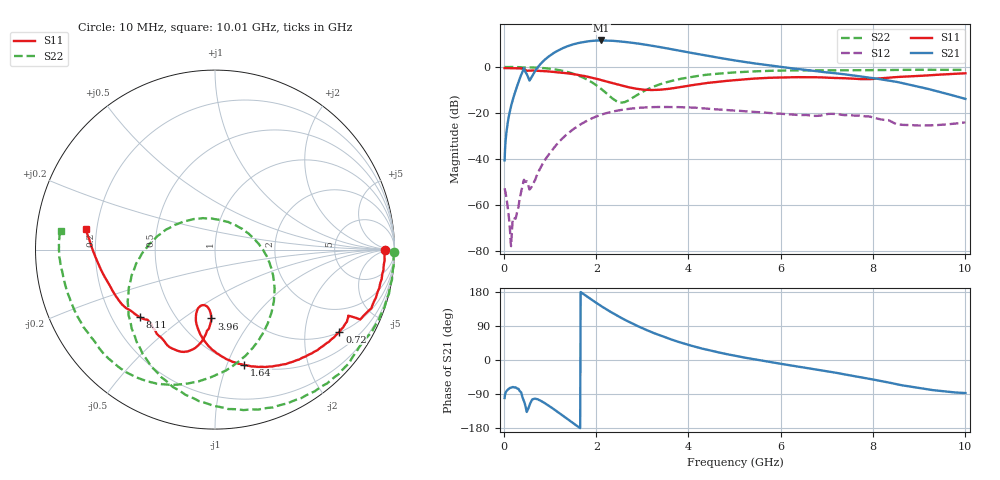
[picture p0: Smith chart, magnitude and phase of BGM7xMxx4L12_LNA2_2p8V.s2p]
! (c) 2014 Infineon Technologies AG
! BGM7xMxx4L12 - Silicon Germanium Quad-Band LTE LNA bank
! 20 May 2014
! Special Application Board
! C1 = L1 = 0 Ohm
! C2 = 100 nF
! Vcc = 2.8V
! RF input and output lines de-embedded
! Port 1 reference plane: LNA input AI (pin 9)
! Port 2 reference plane: LNA output AO (pin 6)
! Network Data:
! Measured BGM7xMxx4L12 device level s-parameters
# GHz S MA R 50
!Freq  MagS11  AngS11  MagS21  AngS21  MagS12  AngS12  MagS22  AngS22
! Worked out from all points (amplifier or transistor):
!   1001 points, 10 MHz to 10.01 GHz, reference 50 ohm
!   highest |S21| = 11.6 dB at 2.11 GHz (marker M1)
!   |S21| within 3 dB of that: 1.316 GHz to 3.409 GHz (2.094 GHz wide, 88.6 % of centre)
!   unconditionally stable (mu >= 1): start of sweep to 69.07 MHz; 71.15 MHz to 126.5 MHz; 190.9 MHz to end of sweep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
!   at 1.67 GHz: K = 1.41, MAG = 14.0 dB, |S12| = -24.9 dB
!   at 5.01 GHz: K = 1.29, MAG = 7.7 dB, |S12| = -19.0 dB
!   at 10.01 GHz: K = 4.21, MAG = -4.1 dB, |S12| = -24.2 dB
!   lowest NFmin = 0.66 dB at 2.05 GHz
!   S11 on the Smith chart (normalised r, x): 10 MHz: 37, -3; 720 MHz: 1.03, -3.02; 1.64 GHz: 0.50, -1.15; 3.96 GHz: 0.72, -0.65; 8.11 GHz: 0.32, -0.35; 10.01 GHz: 0.16, +0.08
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0.01  0.9478 -0.3  0.009186 -100.4  0.002273 -0.1  0.9983 -0.7
0.17  0.942 -8.9  0.167 -72.2  0.0002914 -155.8  0.9975 -12.7
0.42  0.902 -24.8  0.8874 -105.5  0.0032 -177.0  0.9732 -31.5
0.54  0.8311 -26.5  0.534 -122.8  0.002303 151.1  0.9766 -39.6
0.72  0.8305 -33.4  0.9548 -103.5  0.004563 -167.3  0.9652 -54.1
0.98  0.7977 -44.9  1.73 -121.7  0.01282 -171.0  0.9193 -75.7
1.19  0.7629 -54.4  2.34 -139.4  0.02328 177.9  0.8544 -94.1
1.4  0.7218 -64.5  2.89 -158.0  0.0367 165.4  0.7647 -113.8
1.64  0.6619 -76.0  3.371 -179.0  0.05464 150.2  0.6322 -137.5
1.68  0.6517 -77.8  3.437 177.6  0.05785 147.7  0.6089 -141.8
1.89  0.5886 -87.3  3.683 159.8  0.07477 134.0  0.4713 -165.0
2.11  0.5182 -96.1  3.787 142.0  0.09135 120.1  0.3303 166.9
2.37  0.439 -103.0  3.704 122.8  0.1073 104.7  0.1989 120.7
2.63  0.3751 -106.3  3.509 105.4  0.1196 90.9  0.1737 54.4
3  0.3225 -104.2  3.135 83.9  0.1304 74.1  0.2868 -6.2
3.35  0.3182 -98.5  2.746 66.3  0.1344 60.5  0.4089 -35.9
3.96  0.3839 -93.1  2.123 41.2  0.1318 42.0  0.5841 -68.5
5.01  0.5192 -98.4  1.389 11.1  0.1122 22.9  0.7625 -101.8
6.68  0.6007 -113.6  0.8334 -23.4  0.08682 14.3  0.8487 -134.6
8.11  0.5628 -137.9  0.5527 -54.0  0.07448 -0.1  0.8568 -165.6
8.35  0.5849 -145.2  0.5084 -59.5  0.06879 -0.9  0.8592 -170.3
10.01  0.7293 171.1  0.2016 -87.2  0.06197 38.6  0.8643 173.0
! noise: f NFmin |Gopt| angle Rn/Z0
1.8  0.693  0.3805  63.78  0.1573
1.85  0.6717  0.3701  65.18  0.1357
1.9  0.6802  0.3626  66.57  0.139
1.95  0.6717  0.3506  68.18  0.1398
2  0.6635  0.3445  70.44  0.1379
2.05  0.6601  0.3798  74.21  0.1227
2.1  0.6773  0.3639  75.2  0.123
2.2  0.7067  0.3626  81.25  0.1255
2.35  0.7379  0.3554  85.59  0.1195
2.65  0.8124  0.3632  100.1  0.1095
